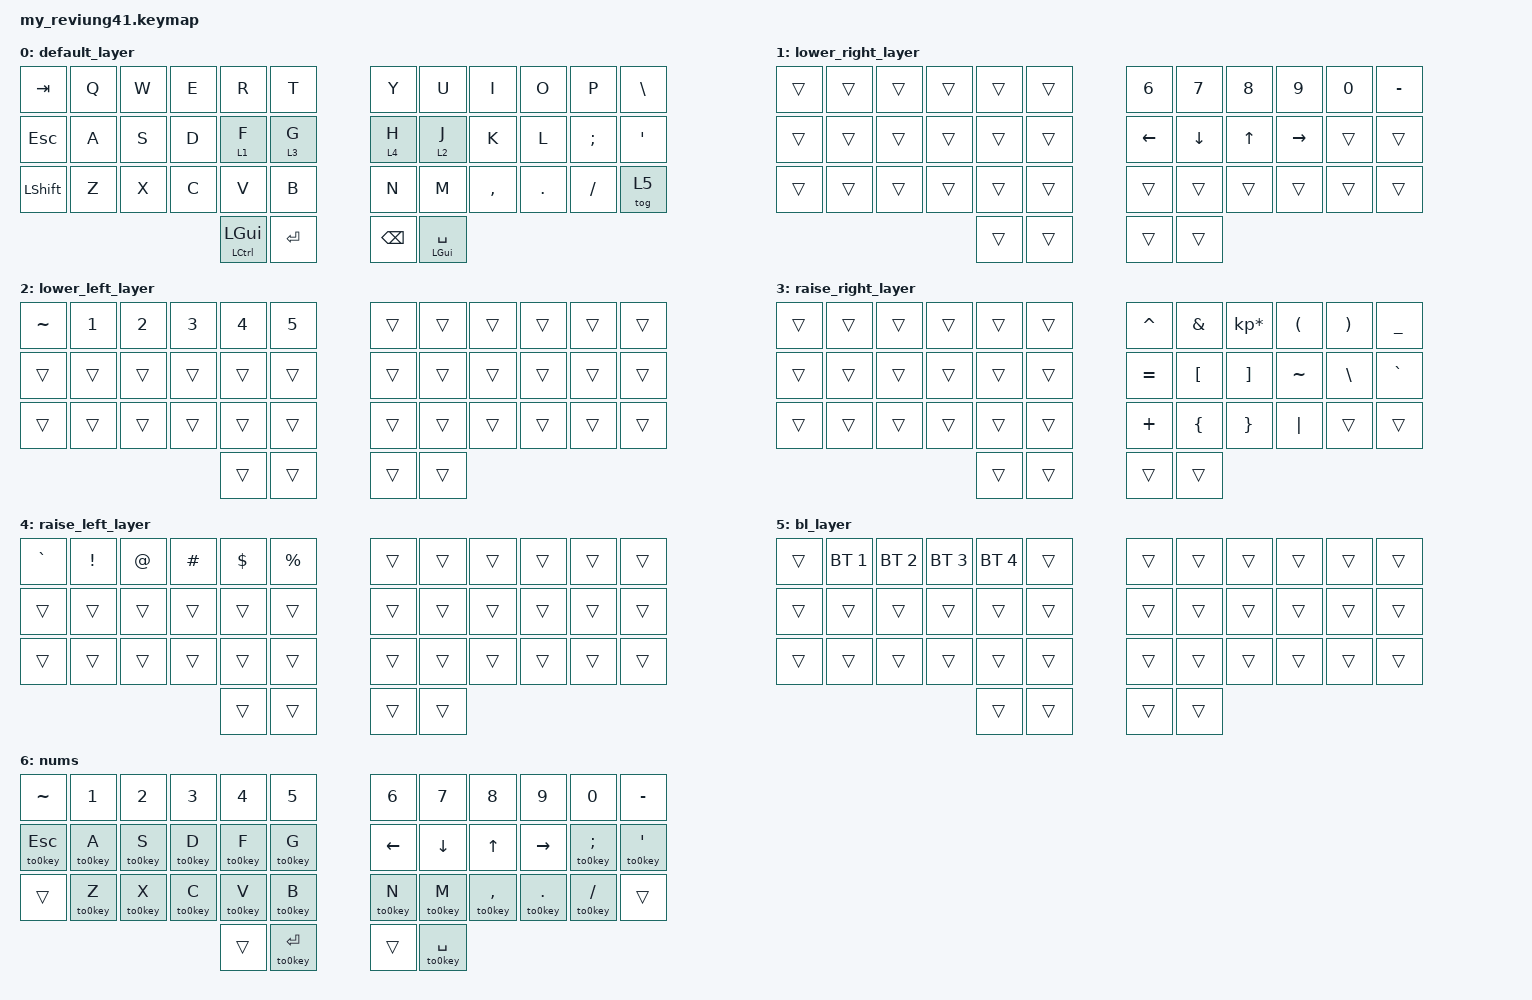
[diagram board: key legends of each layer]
/*
 * Copyright (c) 2020 The ZMK Contributors
 *
 * SPDX-License-Identifier: MIT
 */

#include <behaviors.dtsi>
#include <dt-bindings/zmk/bt.h>
#include <dt-bindings/zmk/keys.h>
#include "./keypos_40keys.h"

&lt {
    flavor = "balanced";
};

/*╭─────────────────────────┬─────────────────────────╮
  │ LT5 LT4 LT3 LT2 LT1 LT0 │ RT0 RT1 RT2 RT3 RT4 RT5 │
  │ LM5 LM4 LM3 LM2 LM1 LM0 │ RM0 RM1 RM2 RM3 RM4 RM5 │
  │ LB5 LB4 LB3 LB2 LB1 LB0 │ RB0 RB1 RB2 RB3 RB4 RB5 │
  ╰───────────╮     LH1 LH0 │ RH0 RH1     ╭───────────╯
              ╰─────────────┴─────────────╯             */

#define COMBO(NAME, BINDINGS, KEYPOS) \
  combo_##NAME { \
    timeout-ms = <50>; \
    bindings = <BINDINGS>; \
    key-positions = <KEYPOS>; \
  };

#define COMBO_6(NAME, BINDINGS, KEYPOS) \
  combo_##NAME { \
    timeout-ms = <50>; \
    bindings = <BINDINGS>; \
    key-positions = <KEYPOS>; \
    layers = <6>; \
  };


/ {
    macros {
        to0key: to0key {
            compatible = "zmk,behavior-macro-one-param";
            wait-ms = <0>;
            tap-ms = <0>;
            #binding-cells = <1>;
            label = "return_to_0_layer_and_send_key";
            bindings
                = <&to 0>
                , <&macro_param_1to1 &kp MACRO_PLACEHOLDER>
                ;
        };
        
        
        arrow: arrow {
            label = "arrow";
            compatible = "zmk,behavior-macro";
            wait-ms = <0>;
            tap-ms = <0>;
            #binding-cells = <0>;
            bindings = <&kp KP_MINUS &kp GT>;
        };
        
        brackets: brackets {
            label = "brackets";
            wait-ms = <0>;
            tap-ms = <0>;
            compatible = "zmk,behavior-macro";
            #binding-cells = <0>;
            bindings = <&kp LBKT &kp RBKT &kp LEFT>;
        };
        braces: braces {
            label = "braces";
            compatible = "zmk,behavior-macro";
            wait-ms = <0>;
            tap-ms = <0>;
            #binding-cells = <0>;
            bindings = <&kp LBRC &kp RBRC>, <&kp LEFT>;
        };
    };
    combos {
        compatible = "zmk,combos";
        
        COMBO(alt_tab, &kp LA(TAB), LT5  LT4)

        COMBO(superPaste, &kp LC(LA(V)), LB2 LB1)
        COMBO(f2rename, &kp F2, LB3 LB2)
        COMBO(pr, &kp LPAR, RT1  RT2)
        COMBO(eq, &kp EQUAL, RM1  RM2)
        COMBO(bracket, &brackets, RB1 RB2)
        COMBO(brace, &braces, LB5 RB1 RB2)
        COMBO(un, &kp UNDER, RM0 RM1)
        COMBO(excl, &kp EXCL, LB5 RM0 RM1)
        COMBO(del, &kp DEL, LB1 LB0)

        COMBO(nums,  &tog 6, LM2  LM1)
        COMBO(loadNew,  &bootloader, LH1 LH0 RH0 RH1)
        COMBO(dittoPaste, &kp LC(LS(V)), LH1 LB5 LB1)
    };


    behaviors {
        hm: homerow_mods {
            compatible = "zmk,behavior-hold-tap";
            flavor = "balanced";
            #binding-cells = <2>;
            tapping-term-ms = <280>;
            quick-tap-ms = <175>;                // repeat on tap-into-hold
            require-prior-idle-ms = <150>;
            bindings = <&kp>, <&kp>;
            hold-trigger-on-release; 
        };

        mx: layer_tap_osl {
            compatible = "zmk,behavior-hold-tap";
            label = "LAYER_TAP_OSL";
            #binding-cells = <2>;
            flavor = "hold-preferred";
            tapping_term_ms = <200>;
            bindings = <&mo>, <&kp>;
        };

        li: layer_tap_intr {
            compatible = "zmk,behavior-hold-tap";
            label = "LAYER_TAP_INTR";
            #binding-cells = <2>;
            flavor = "tap-unless-interrupted";
            tapping_term_ms = <200>;
            bindings = <&mo>, <&kp>;
        };
    };

    keymap {
        compatible = "zmk,keymap";

        default_layer {
            bindings = <
// ╭─────────────┬─────────────┬─────────────┬─────────────┬─────────────┬─────────────╮   ╭─────────────┬─────────────┬─────────────┬─────────────┬─────────────┬─────────────╮
        &kp TAB     &kp Q           &kp W          &kp E        &kp R        &kp T              &kp Y         &kp U         &kp I          &kp O         &kp P      &kp BSLH
// ├─────────────┼─────────────┬─────────────┼─────────────┼─────────────┼─────────────┤   ├─────────────┼─────────────┬─────────────┼─────────────┼─────────────┼─────────────┤
        &kp ESC     &kp A           &kp S          &kp D      &lt 1 F        &lt 3 G            &lt 4 H       &lt 2 J        &kp K         &kp L       &kp SEMI     &kp SQT
// ├─────────────┼─────────────┬─────────────┼─────────────┼─────────────┼─────────────┤   ├─────────────┼─────────────┬─────────────┼─────────────┼─────────────┼─────────────┤
      &kp LSHFT     &kp Z           &kp X          &kp C      &kp V          &kp B              &kp N        &kp M        &kp COMMA     &kp DOT        &kp FSLH      &tog 5
// ╰─────────────┼─────────────┬─────────────┼─────────────┼─────────────┼─────────────┤   ├─────────────┼─────────────┬─────────────┼─────────────┼─────────────┼─────────────┤
                                                            &mt LCTRL LGUI   &kp RET           &kp BSPC   &hm LGUI SPACE 
//                                                         ╰─────────────┴─────────────╯   ╰─────────────┴─────────────╯
            >;
        };        

        lower_right_layer {
            // -----------------------------------------------------------------------------------------
            // |    |     |  2  |  3  |  4  |  5  |   |  6  |  7  |  8  |  9  |  0  | BKSP |
            // | 	|     | BT2 | BT3 | BT4 | BT5 |   | LFT | DWN |  UP | RGT |     |      |
            // |    |     |     |     |     |     |   |     |     |     |     |     |      |
            //                    | GUI |     | SPC |   | ENT |     | ALT |

            bindings = <
&trans  &trans  &trans  &trans  &trans  &trans  &kp N6    &kp N7    &kp N8  &kp N9     &kp N0  &kp MINUS
&trans  &trans  &trans  &trans  &trans  &trans  &kp LEFT  &kp DOWN  &kp UP  &kp RIGHT  &trans  &trans
&trans  &trans  &trans  &trans  &trans  &trans  &trans    &trans    &trans  &trans     &trans  &trans
                        &trans  &trans  &trans  &trans
            >;
        };

        lower_left_layer {
            // -----------------------------------------------------------------------------------------
            // |  TAB |  1  |  2  |  3  |  4  |  5  |   |  6  |  7  |  8  |  9  |  0  | BKSP |
            // | BTCLR| BT1 | BT2 | BT3 | BT4 | BT5 |   | LFT | DWN |  UP | RGT |     |      |
            // | SHFT |     |     |     |     |     |   |     |     |     |     |     |      |
            //                    | GUI |     | SPC |   | ENT |     | ALT |

            bindings = <
&kp TILDE  &kp N1  &kp N2  &kp N3  &kp N4  &kp N5  &trans  &trans  &trans  &trans  &trans  &trans
&trans     &trans  &trans  &trans  &trans  &trans  &trans  &trans  &trans  &trans  &trans  &trans
&trans     &trans  &trans  &trans  &trans  &trans  &trans  &trans  &trans  &trans  &trans  &trans
                           &trans  &trans  &trans  &trans
            >;
        };

        raise_right_layer {
            // -----------------------------------------------------------------------------------------
            // |  TAB |  !  |  @  |  #  |  $  |  %  |   |  ^  |  &  |  *  |  (  |  )  | BKSP |
            // | CTRL |     |     |     |     |     |   |  -  |  =  |  [  |  ]  |  \  |  `   |
            // | SHFT |     |     |     |     |     |   |  _  |  +  |  {  |  }  | "|" |  ~   |
            //                    | GUI |     | SPC |   | ENT |     | ALT |

            bindings = <
&trans  &trans  &trans  &trans  &trans  &trans  &kp CARET  &kp AMPS  &kp KP_MULTIPLY  &kp LPAR   &kp RPAR  &kp UNDER
&trans  &trans  &trans  &trans  &trans  &trans  &kp EQUAL  &kp LBKT  &kp RBKT         &kp TILDE  &kp BSLH  &kp GRAVE
&trans  &trans  &trans  &trans  &trans  &trans  &kp PLUS   &kp LBRC  &kp RBRC         &kp PIPE   &trans    &trans
                        &trans  &trans  &trans  &trans
            >;
        };

        raise_left_layer {
            // -----------------------------------------------------------------------------------------
            // |  TAB |  !  |  @  |  #  |  $  |  %  |   |  ^  |  &  |  *  |  (  |  )  | BKSP |
            // | CTRL |     |     |     |     |     |   |  -  |  =  |  [  |  ]  |  \  |  `   |
            // | SHFT |     |     |     |     |     |   |  _  |  +  |  {  |  }  | "|" |  ~   |
            //                    | GUI |     | SPC |   | ENT |     | ALT |7886^&*^(*())

            bindings = <
&kp GRAVE  &kp EXCL  &kp AT  &kp HASH  &kp DLLR  &kp PRCNT  &trans  &trans  &trans  &trans  &trans  &trans
&trans     &trans    &trans  &trans    &trans    &trans     &trans  &trans  &trans  &trans  &trans  &trans
&trans     &trans    &trans  &trans    &trans    &trans     &trans  &trans  &trans  &trans  &trans  &trans
                             &trans    &trans    &trans     &trans
            >;
        };

        bl_layer {
            bindings = <
// ╭─────────────┬─────────────┬─────────────┬─────────────┬─────────────┬─────────────╮   ╭─────────────┬─────────────┬─────────────┬─────────────┬─────────────┬─────────────╮
    &trans   &bt BT_SEL 1  &bt BT_SEL 2  &bt BT_SEL 3  &bt BT_SEL 4     &trans           &trans         &trans        &trans         &trans       &trans       &trans
// ├─────────────┼─────────────┬─────────────┼─────────────┼─────────────┼─────────────┤   ├─────────────┼─────────────┬─────────────┼─────────────┼─────────────┼─────────────┤
    &trans         &trans        &trans         &trans         &trans        &trans           &trans         &trans        &trans         &trans       &trans       &trans 
// ├─────────────┼─────────────┬─────────────┼─────────────┼─────────────┼─────────────┤   ├─────────────┼─────────────┬─────────────┼─────────────┼─────────────┼─────────────┤
    &trans         &trans        &trans         &trans         &trans        &trans           &trans         &trans        &trans         &trans       &trans       &trans
// ╰─────────────┼─────────────┬─────────────┼─────────────┼─────────────┼─────────────┤   ├─────────────┼─────────────┬─────────────┼─────────────┼─────────────┼─────────────┤
                                                               &trans      &trans        &trans     &trans    
//                                                         ╰─────────────┴─────────────╯   ╰─────────────┴─────────────╯
            >;
        };

        nums {
            bindings = <
     // ╭─────────────┬─────────────┬─────────────┬─────────────┬─────────────┬─────────────╮   ╭─────────────┬─────────────┬─────────────┬─────────────┬─────────────┬─────────────╮
          &kp TILDE      &kp N1        &kp N2         &kp N3         &kp N4        &kp N5           &kp N6        &kp N7         &kp N8        &kp N9        &kp N0      &kp MINUS
     // ├─────────────┼─────────────┬─────────────┼─────────────┼─────────────┼─────────────┤   ├─────────────┼─────────────┬─────────────┼─────────────┼─────────────┼─────────────┤
         &to0key ESC    &to0key A       &to0key S    &to0key D    &to0key F     &to0key G          &kp LEFT      &kp DOWN       &kp UP       &kp RIGHT    &to0key SEMI   &to0key SQT
     // ├─────────────┼─────────────┬─────────────┼─────────────┼─────────────┼─────────────┤   ├─────────────┼─────────────┬─────────────┼─────────────┼─────────────┼─────────────┤
          &trans        &to0key Z       &to0key X   &to0key C       &to0key V   &to0key B           &to0key N   &to0key M    &to0key COMMA  &to0key DOT  &to0key FSLH     &trans
     // ╰─────────────┼─────────────┬─────────────┼─────────────┼─────────────┼─────────────┤   ├─────────────┼─────────────┬─────────────┼─────────────┼─────────────┼─────────────┤
                                                                    &trans       &to0key RET       &trans      &to0key SPACE   
     //                                                         ╰─────────────┴─────────────╯   ╰─────────────┴─────────────╯
            >;
        };
    };
};
